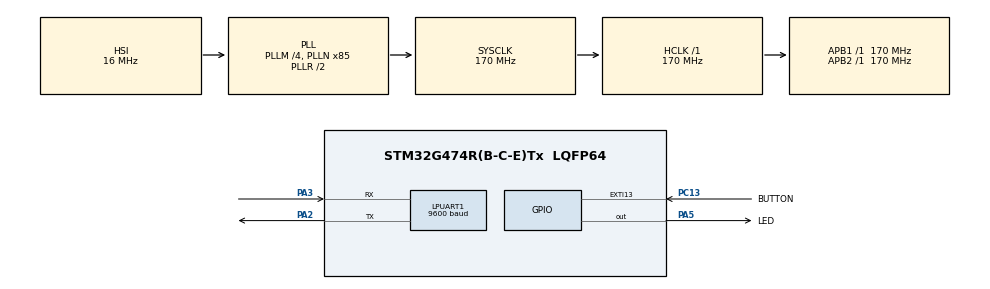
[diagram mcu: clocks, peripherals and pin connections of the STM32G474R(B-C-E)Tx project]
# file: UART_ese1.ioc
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LPUART1.BaudRate=9600
Mcu.Family=STM32G4
Mcu.Name=STM32G474R(B-C-E)Tx
Mcu.Package=LQFP64
NVIC.EXTI15_10_IRQn=true\:0\:0\:false\:false\:true\:true\:true\:true
NVIC.PriorityGroup=NVIC_PRIORITYGROUP_4
PA2.Mode=Asynchronous
PA2.Signal=LPUART1_TX
PA3.Mode=Asynchronous
PA3.Signal=LPUART1_RX
PA5.GPIO_Label=LED
PA5.Signal=GPIO_Output
PC13.GPIO_Label=BUTTON
PC13.Signal=GPXTI13
ProjectManager.HeapSize=0x200
ProjectManager.StackSize=0x400
ProjectManager.TargetToolchain=STM32CubeIDE
RCC.ADC12Freq_Value=170000000
RCC.ADC345Freq_Value=170000000
RCC.AHBFreq_Value=170000000
RCC.APB1Freq_Value=170000000
RCC.APB1TimFreq_Value=170000000
RCC.APB2Freq_Value=170000000
RCC.APB2TimFreq_Value=170000000
RCC.CortexFreq_Value=170000000
RCC.EXTERNAL_CLOCK_VALUE=12288000
RCC.HCLKFreq_Value=170000000
RCC.HSE_VALUE=24000000
RCC.HSI48_VALUE=48000000
RCC.HSI_VALUE=16000000
RCC.LPUART1CLockSelection=RCC_LPUART1CLKSOURCE_HSI
RCC.LSE_VALUE=32768
RCC.PLLM=RCC_PLLM_DIV4
RCC.PLLN=85
RCC.RTCClockSelection=RCC_RTCCLKSOURCE_LSE
RCC.SYSCLKFreq_VALUE=170000000
RCC.SYSCLKSource=RCC_SYSCLKSOURCE_PLLCLK
RCC.USBFreq_Value=170000000
RCC.VCOOutputFreq_Value=340000000
VP_SYS_VS_DBSignals.Mode=DisableDeadBatterySignals
board=NUCLEO-G474RE

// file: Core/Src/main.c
/* USER CODE BEGIN Header */
/**
  ******************************************************************************
  * @file           : main.c
  * @brief          : Main program body
  ******************************************************************************
  * @attention
  *
  * Copyright (c) 2026 STMicroelectronics.
  * All rights reserved.
  *
  * This software is licensed under terms that can be found in the LICENSE file
  * in the root directory of this software component.
  * If no LICENSE file comes with this software, it is provided AS-IS.
  *
  ******************************************************************************
  */
/* USER CODE END Header */
#include "main.h"
#include "usart.h"
#include "gpio.h"

/* USER CODE BEGIN Includes */
#include "string.h"
#include "stdlib.h"

/* USER CODE END Includes */

/* USER CODE BEGIN PD */
#define SIZE 10 //4 cifre + il terminatore(9 dovrebbe bastare)

/* USER CODE END PD */

/* USER CODE BEGIN PV */
static uint32_t half_period=500;
static volatile uint8_t set_period=0; //

/* USER CODE END PV */

void SystemClock_Config(void);

/* USER CODE BEGIN 0 */
//HAL_StatusTypeDef HAL_UART_Transmit(UART_HandleTypeDef *huart, const uint8_t *pData, uint16_t Size, uint32_t Timeout);

void printMessage(char *msg){
	HAL_UART_Transmit(&hlpuart1, (uint8_t *) msg, strlen(msg),HAL_MAX_DELAY);
	//2 è buffer di 8 byte dove viene salvato il messaggio
	//3 quanti caratteri voglio trasferire
}

//legge il nuovo periodo dall'utente
//HAL_UART_Receive(UART_HandleTypeDef *huart, uint8_t *pData, uint16_t Size, uint32_t Timeout)

uint32_t readMessage(){
	char buffer[SIZE];
	char c;
	int indx=0;
	HAL_UART_AbortReceive(&hlpuart1);

	while(1){

		HAL_UART_Receive(&hlpuart1,(uint8_t *) &c, 1, HAL_MAX_DELAY); //è una funzione bloccante
		HAL_UART_Transmit(&hlpuart1,(uint8_t *) &c, 1, HAL_MAX_DELAY);

		if((c=='\r' || c<='\n') && indx != 0){
				buffer[indx] = '\0';
				return atoi(buffer);
		}
		//valore correto per poterlo inserire nel buffer
		if(c>='0' && c<='9'){
			buffer[indx++]=c;
			if (indx == SIZE - 1) {
				buffer[indx]='\0';
				return atoi(buffer);

			}

		}
	}

}

/* USER CODE END 0 */

int main(void)
{

  /* MCU Configuration--------------------------------------------------------*/

  /* Reset of all peripherals, Initializes the Flash interface and the Systick. */
  HAL_Init();

  /* Configure the system clock */
  SystemClock_Config();

  /* Initialize all configured peripherals */
  MX_GPIO_Init();
  MX_LPUART1_UART_Init();
  /* USER CODE BEGIN 2 */
  printMessage("Sistema Avviato! UART OK!\r\n");

  /* USER CODE END 2 */

  /* Infinite loop */
  while (1)
  {

    /* USER CODE BEGIN 3 */
	if (set_period) {
		printMessage("Digita un periodo:\r\n");
		half_period=readMessage()/2;
		set_period=0;

	} else {
		HAL_GPIO_TogglePin(LED_GPIO_Port, LED_Pin);
		HAL_Delay(half_period);
	}

  }
  /* USER CODE END 3 */
}

void SystemClock_Config(void)
{
  RCC_OscInitTypeDef RCC_OscInitStruct = {0};
  RCC_ClkInitTypeDef RCC_ClkInitStruct = {0};

  /** Configure the main internal regulator output voltage
  */
  HAL_PWREx_ControlVoltageScaling(PWR_REGULATOR_VOLTAGE_SCALE1_BOOST);

  /** Initializes the RCC Oscillators according to the specified parameters
  * in the RCC_OscInitTypeDef structure.
  */
  RCC_OscInitStruct.OscillatorType = RCC_OSCILLATORTYPE_HSI;
  RCC_OscInitStruct.HSIState = RCC_HSI_ON;
  RCC_OscInitStruct.HSICalibrationValue = RCC_HSICALIBRATION_DEFAULT;
  RCC_OscInitStruct.PLL.PLLState = RCC_PLL_ON;
  RCC_OscInitStruct.PLL.PLLSource = RCC_PLLSOURCE_HSI;
  RCC_OscInitStruct.PLL.PLLM = RCC_PLLM_DIV4;
  RCC_OscInitStruct.PLL.PLLN = 85;
  RCC_OscInitStruct.PLL.PLLP = RCC_PLLP_DIV2;
  RCC_OscInitStruct.PLL.PLLQ = RCC_PLLQ_DIV2;
  RCC_OscInitStruct.PLL.PLLR = RCC_PLLR_DIV2;
  if (HAL_RCC_OscConfig(&RCC_OscInitStruct) != HAL_OK)
  {
    Error_Handler();
  }

  /** Initializes the CPU, AHB and APB buses clocks
  */
  RCC_ClkInitStruct.ClockType = RCC_CLOCKTYPE_HCLK|RCC_CLOCKTYPE_SYSCLK
                              |RCC_CLOCKTYPE_PCLK1|RCC_CLOCKTYPE_PCLK2;
  RCC_ClkInitStruct.SYSCLKSource = RCC_SYSCLKSOURCE_PLLCLK;
  RCC_ClkInitStruct.AHBCLKDivider = RCC_SYSCLK_DIV1;
  RCC_ClkInitStruct.APB1CLKDivider = RCC_HCLK_DIV1;
  RCC_ClkInitStruct.APB2CLKDivider = RCC_HCLK_DIV1;

  if (HAL_RCC_ClockConfig(&RCC_ClkInitStruct, FLASH_LATENCY_4) != HAL_OK)
  {
    Error_Handler();
  }
}

/* USER CODE BEGIN 4 */
void HAL_GPIO_EXTI_Callback(uint16_t GPIO_Pin){
    if(GPIO_Pin == BUTTON_Pin){
        set_period = 1;
    }
}

/* USER CODE END 4 */

void Error_Handler(void)
{
  __disable_irq();
  while (1)
  {
  }
}
